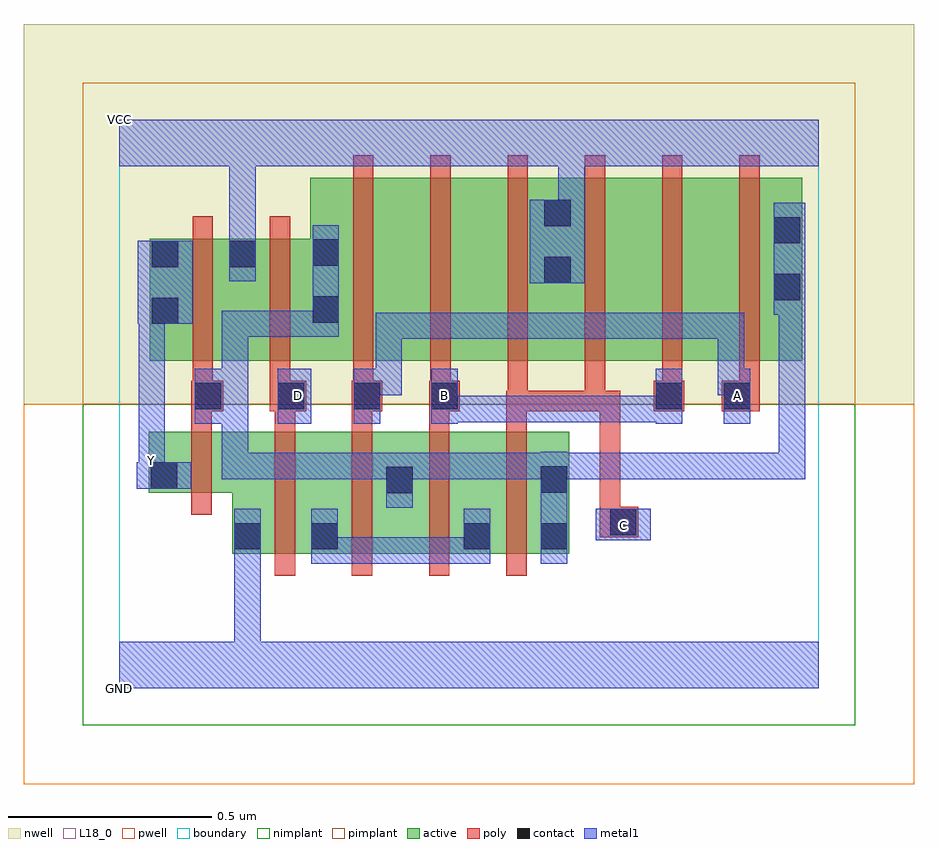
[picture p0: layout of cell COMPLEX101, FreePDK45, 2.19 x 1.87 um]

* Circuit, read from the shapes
.subckt COMPLEX101 A B C D GND VCC Y
M1 GND n1 Y VSUBS nfet w=0.15u l=0.05u
M2 n2 D GND VSUBS nfet w=0.3u l=0.05u
M3 n1 A n2 VSUBS nfet w=0.3u l=0.05u
M4 n2 B n1 VSUBS nfet w=0.3u l=0.05u
M5 n1 C n2 VSUBS nfet w=0.3u l=0.05u
M6 VCC n1 Y n3 pfet w=0.3u l=0.05u
M7 n1 D VCC n3 pfet w=0.3u l=0.05u
M8 n4 A n1 n3 pfet w=0.45u l=0.05u
M9 n5 B n4 n3 pfet w=0.45u l=0.05u
M10 VCC C n5 n3 pfet w=0.45u l=0.05u
M11 n6 C VCC n3 pfet w=0.45u l=0.05u
M12 n7 B n6 n3 pfet w=0.45u l=0.05u
M13 n1 A n7 n3 pfet w=0.45u l=0.05u
.ends

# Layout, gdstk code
import gdstk
lib = gdstk.Library(unit=1e-6, precision=1e-09)
def R(c, l, rs):  # rectangles x0, y0, x1, y1
    for r in rs: c.add(gdstk.rectangle(r[:2], r[2:], *l))
def A(c, l, x, y, w, h, nx, ny, dx, dy):  # array of equal rectangles
    R(c, l, [(x+i*dx, y+j*dy, x+i*dx+w, y+j*dy+h) for i in range(nx) for j in range(ny)])
active = (1, 0)
pwell = (2, 0)
nwell = (3, 0)
nimplant = (4, 0)
pimplant = (5, 0)
poly = (9, 0)
contact = (10, 0)
metal1 = (11, 0)
L18_0 = (18, 0)
boundary = (235, 0)

complex101 = lib.new_cell('COMPLEX101')
R(complex101, active, [(0.277,0.332,0.542,0.632), (0.467,0.332,0.542,0.547), (0.467,0.332,0.727,0.632), (0.652,0.332,0.917,0.632), (0.842,0.332,1.107,0.632), (0.842,0.332,0.917,0.547), (1.032,0.332,1.107,0.632), (0.277,0.337,0.352,0.532), (0.652,0.345,0.727,0.55), (0.072,0.482,0.352,0.632), (0.072,0.482,0.147,0.632), (0.075,0.807,0.15,1.107), (0.075,0.807,0.34,1.107), (0.265,0.807,0.545,1.107), (0.47,0.807,0.695,1.257), (0.695,0.807,0.885,1.257), (0.885,0.807,1.115,1.257), (1.04,0.807,1.265,1.257), (1.265,0.807,1.455,1.257), (1.455,0.807,1.68,1.257), (1.605,0.807,1.68,1.2), (0.265,0.857,0.34,1.107), (1.04,0.857,1.115,1.257), (0.47,0.895,0.545,1.2)])
R(complex101, pwell, [(-0.235,-0.235,1.955,0.7)])
R(complex101, nwell, [(-0.235,0.7,1.955,1.635)])
R(complex101, nimplant, [(-0.09,-0.09,1.81,0.7)])
R(complex101, pimplant, [(-0.09,0.7,1.81,1.49)])
A(complex101, poly, 0.382, 0.277, 0.05, 0.41, 4, 1, 0.19, 0)
A(complex101, poly, 0.382, 0.637, 0.05, 0.095, 4, 1, 0.19, 0)
A(complex101, poly, 0.575, 0.752, 0.05, 0.56, 6, 1, 0.19, 0)
R(complex101, poly, [(1.182,0.372,1.277,0.447), (1.182,0.397,1.232,0.732), (0.177,0.427,0.227,0.687), (0.177,0.637,0.227,0.732), (0.177,0.682,0.255,0.757), (0.37,0.682,0.46,0.757), (0.572,0.682,0.647,0.757), (0.762,0.682,0.837,0.757), (0.952,0.682,1.005,0.732), (0.955,0.682,1.005,0.802), (0.955,0.682,1.005,0.732), (0.955,0.682,1.005,0.732), (0.955,0.682,1.195,0.732), (1.145,0.682,1.195,0.802), (1.145,0.682,1.232,0.732), (1.182,0.682,1.232,0.732), (1.182,0.682,1.232,0.732), (1.315,0.682,1.39,0.757), (1.482,0.682,1.575,0.757), (0.18,0.707,0.23,0.802), (0.37,0.707,0.42,0.802), (0.575,0.707,0.625,0.802), (0.765,0.707,0.815,0.802), (1.335,0.707,1.385,0.802), (1.525,0.707,1.575,0.802), (0.18,0.752,0.23,1.162), (0.37,0.752,0.42,1.162)])
R(complex101, contact, [(0.282,0.342,0.347,0.407), (0.472,0.342,0.537,0.407), (0.847,0.342,0.912,0.407), (1.037,0.342,1.102,0.407), (1.207,0.377,1.272,0.442), (0.657,0.48,0.722,0.545), (1.037,0.482,1.102,0.547), (0.077,0.492,0.142,0.557), (0.185,0.687,0.25,0.752), (0.39,0.687,0.455,0.752), (0.577,0.687,0.642,0.752), (0.767,0.687,0.832,0.752), (1.32,0.687,1.385,0.752), (1.487,0.687,1.552,0.752), (0.08,0.897,0.145,0.962), (0.475,0.9,0.54,0.965), (1.61,0.955,1.675,1.02), (1.045,0.997,1.11,1.062), (0.08,1.037,0.145,1.102), (0.27,1.037,0.335,1.102), (0.475,1.04,0.54,1.105), (1.61,1.095,1.675,1.16), (1.045,1.137,1.11,1.202)])
R(complex101, metal1, [(0,0,1.72,0.115), (0.282,0.05,0.347,0.372), (0.282,0.307,0.347,0.372), (0.282,0.307,0.347,0.372), (0.282,0.307,0.347,0.372), (0.282,0.307,0.347,0.372), (0.282,0.307,0.347,0.442), (0.472,0.307,0.537,0.442), (0.472,0.307,0.675,0.372), (0.61,0.307,0.675,0.372), (0.61,0.307,0.675,0.372), (0.61,0.307,0.675,0.372), (0.61,0.307,0.912,0.372), (0.847,0.307,0.912,0.372), (0.847,0.307,0.912,0.372), (0.847,0.307,0.912,0.442), (1.037,0.307,1.102,0.582), (1.172,0.365,1.307,0.442), (0.657,0.445,0.722,0.58), (0.042,0.492,0.177,0.557), (0.047,0.492,0.112,0.557), (0.047,0.492,0.112,0.627), (0.252,0.515,0.317,0.58), (0.252,0.515,0.505,0.58), (0.252,0.515,0.317,0.787), (0.44,0.515,0.505,0.58), (0.44,0.515,0.537,0.58), (0.472,0.515,0.537,0.58), (0.472,0.515,0.695,0.58), (0.63,0.515,0.695,0.58), (0.63,0.515,0.722,0.58), (0.657,0.515,0.86,0.58), (0.795,0.515,0.86,0.58), (0.795,0.515,0.86,0.58), (0.795,0.515,0.86,0.58), (0.795,0.515,1.1,0.58), (1.035,0.515,1.1,0.58), (1.035,0.515,1.102,0.58), (1.037,0.515,1.247,0.58), (1.182,0.515,1.247,0.58), (1.182,0.515,1.4,0.58), (1.335,0.515,1.4,0.58), (1.335,0.515,1.4,0.58), (1.335,0.515,1.4,0.58), (1.335,0.515,1.537,0.58), (1.472,0.515,1.537,0.58), (1.472,0.515,1.687,0.58), (1.622,0.515,1.687,0.58), (1.622,0.515,1.687,0.58), (1.622,0.515,1.687,0.58), (1.622,0.515,1.687,0.985), (0.047,0.562,0.112,0.962), (0.185,0.652,0.25,0.787), (0.39,0.652,0.472,0.787), (0.577,0.652,0.642,0.787), (0.767,0.652,0.832,0.787), (1.32,0.652,1.385,0.787), (1.487,0.652,1.552,0.787), (0.767,0.655,0.86,0.72), (0.795,0.655,0.86,0.72), (0.795,0.655,1.1,0.72), (1.035,0.655,1.1,0.72), (1.035,0.655,1.247,0.72), (1.182,0.655,1.247,0.72), (1.182,0.655,1.247,0.72), (1.182,0.655,1.247,0.72), (1.182,0.655,1.385,0.72), (1.32,0.655,1.385,0.72), (1.32,0.655,1.385,0.72), (0.185,0.722,0.317,0.787), (0.252,0.722,0.317,0.787), (0.252,0.722,0.317,0.93), (0.577,0.722,0.695,0.787), (0.63,0.722,0.695,0.787), (0.63,0.722,0.695,0.925), (1.472,0.722,1.537,0.787), (1.472,0.722,1.552,0.787), (1.472,0.722,1.537,0.925), (0.63,0.86,0.695,0.925), (0.63,0.86,0.86,0.925), (0.795,0.86,0.86,0.925), (0.795,0.86,0.86,0.925), (0.795,0.86,0.86,0.925), (0.795,0.86,1.1,0.925), (1.035,0.86,1.1,0.925), (1.035,0.86,1.1,0.925), (1.035,0.86,1.1,0.925), (1.035,0.86,1.237,0.925), (1.172,0.86,1.237,0.925), (1.172,0.86,1.4,0.925), (1.335,0.86,1.4,0.925), (1.335,0.86,1.4,0.925), (1.335,0.86,1.4,0.925), (1.335,0.86,1.537,0.925), (1.472,0.86,1.537,0.925), (0.252,0.865,0.317,0.93), (0.252,0.865,0.505,0.93), (0.44,0.865,0.505,0.93), (0.44,0.865,0.54,0.93), (0.475,0.865,0.54,1.14), (0.045,0.897,0.18,1.102), (1.61,0.92,1.687,1.195), (1.622,0.92,1.687,0.985), (1.622,0.92,1.687,0.985), (1.01,0.997,1.145,1.202), (0.27,1.002,0.335,1.137), (0.27,1.072,0.335,1.137), (0.27,1.072,0.335,1.137), (0.27,1.072,0.335,1.35), (1.08,1.137,1.145,1.35), (0,1.285,1.72,1.4)])
R(complex101, L18_0, [(0,0,1.72,0.115), (0.282,0.05,0.347,0.372), (0.282,0.307,0.347,0.442), (0.282,0.307,0.347,0.372), (0.282,0.307,0.347,0.372), (0.282,0.307,0.347,0.372), (0.282,0.307,0.347,0.372), (1.172,0.365,1.307,0.442), (1.207,0.367,1.272,0.432), (0.042,0.492,0.177,0.557), (0.047,0.492,0.112,0.627), (0.047,0.492,0.112,0.557), (0.047,0.527,0.112,0.592), (0.047,0.562,0.112,0.962), (0.39,0.652,0.472,0.787), (0.577,0.652,0.642,0.787), (0.767,0.652,0.832,0.787), (1.32,0.652,1.385,0.787), (1.487,0.652,1.552,0.787), (0.767,0.655,0.86,0.72), (0.795,0.655,0.86,0.72), (0.795,0.655,1.1,0.72), (1.035,0.655,1.1,0.72), (1.035,0.655,1.247,0.72), (1.182,0.655,1.247,0.72), (1.182,0.655,1.247,0.72), (1.182,0.655,1.247,0.72), (1.182,0.655,1.385,0.72), (1.32,0.655,1.385,0.72), (1.32,0.655,1.385,0.72), (0.407,0.687,0.472,0.752), (0.767,0.687,0.832,0.752), (1.487,0.687,1.552,0.752), (0.577,0.722,0.695,0.787), (0.63,0.722,0.695,0.787), (0.63,0.722,0.695,0.925), (1.472,0.722,1.537,0.787), (1.472,0.722,1.537,0.925), (1.472,0.722,1.552,0.787), (0.63,0.86,0.695,0.925), (0.63,0.86,0.86,0.925), (0.795,0.86,0.86,0.925), (0.795,0.86,0.86,0.925), (0.795,0.86,0.86,0.925), (0.795,0.86,1.1,0.925), (1.035,0.86,1.1,0.925), (1.035,0.86,1.1,0.925), (1.035,0.86,1.1,0.925), (1.035,0.86,1.237,0.925), (1.172,0.86,1.237,0.925), (1.172,0.86,1.4,0.925), (1.335,0.86,1.4,0.925), (1.335,0.86,1.4,0.925), (1.335,0.86,1.4,0.925), (1.335,0.86,1.537,0.925), (1.472,0.86,1.537,0.925), (0.045,0.897,0.18,1.102), (1.01,0.997,1.145,1.202), (0.27,1.002,0.335,1.137), (0.27,1.072,0.335,1.137), (0.27,1.072,0.335,1.137), (0.27,1.072,0.335,1.35), (1.08,1.137,1.145,1.35), (0,1.285,1.72,1.4)])
R(complex101, boundary, [(0,0,1.72,1.4)])
complex101.add(gdstk.Label('A', (1.52,0.72), layer=11, texttype=0))
complex101.add(gdstk.Label('B', (0.8,0.72), layer=11, texttype=0))
complex101.add(gdstk.Label('C', (1.24,0.4), layer=11, texttype=0))
complex101.add(gdstk.Label('D', (0.44,0.72), layer=11, texttype=0))
complex101.add(gdstk.Label('Y', (0.08,0.56), layer=11, texttype=0))
complex101.add(gdstk.Label('VCC', (0,1.4), layer=11, texttype=0))
complex101.add(gdstk.Label('GND', (0,0), layer=11, texttype=0))

lib.write_gds('COMPLEX101.gds')
